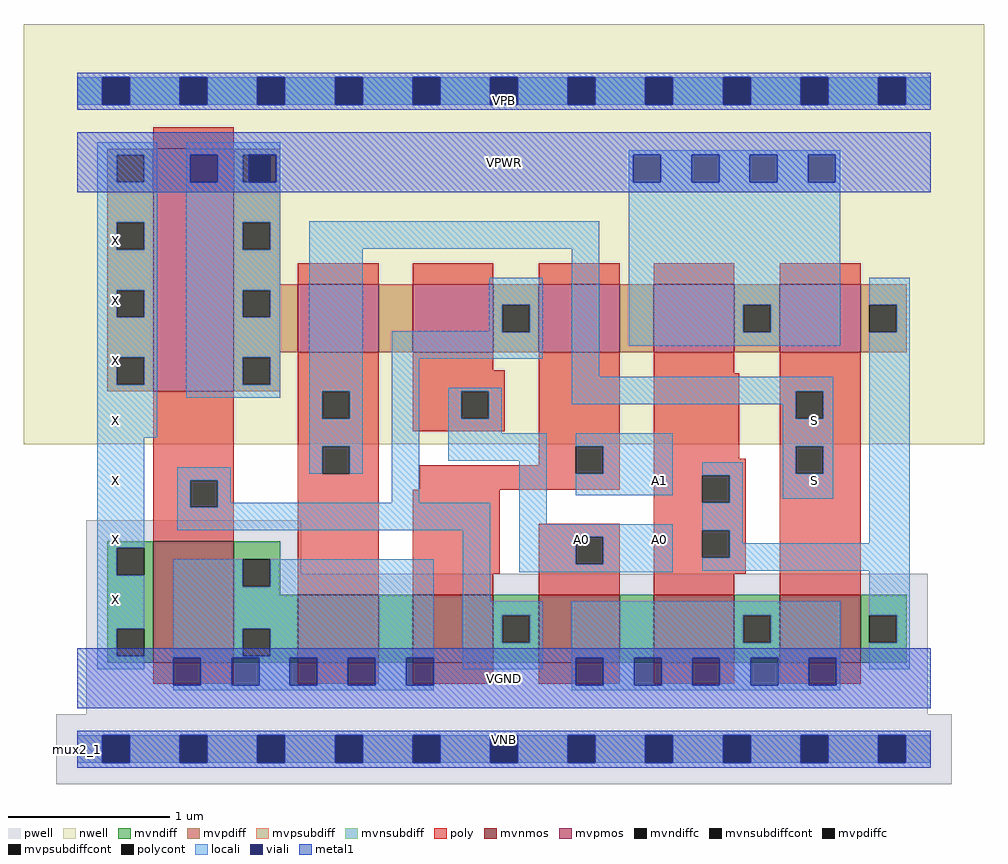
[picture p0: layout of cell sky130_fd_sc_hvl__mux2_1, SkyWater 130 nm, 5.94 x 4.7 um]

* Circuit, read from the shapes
.subckt sky130_fd_sc_hvl__mux2_1 A0 A1 S VGND VNB VPB VPWR X
XM1 VGND n1 X VNB sky130_fd_pr__nfet_g5v0d10v5 w=0.75 l=0.5
XM2 n2 S VGND VNB sky130_fd_pr__nfet_g5v0d10v5 w=0.42 l=0.5
XM3 n1 A1 n2 VNB sky130_fd_pr__nfet_g5v0d10v5 w=0.42 l=0.5
XM4 n3 A0 n1 VNB sky130_fd_pr__nfet_g5v0d10v5 w=0.42 l=0.5
XM5 VGND n4 n3 VNB sky130_fd_pr__nfet_g5v0d10v5 w=0.42 l=0.5
XM6 n4 S VGND VNB sky130_fd_pr__nfet_g5v0d10v5 w=0.42 l=0.5
XM7 VPWR n1 X VPB sky130_fd_pr__pfet_g5v0d10v5 w=1.5 l=0.5
XM8 n5 S VPWR VPB sky130_fd_pr__pfet_g5v0d10v5 w=0.42 l=0.5
XM9 n1 A0 n5 VPB sky130_fd_pr__pfet_g5v0d10v5 w=0.42 l=0.5
XM10 n6 A1 n1 VPB sky130_fd_pr__pfet_g5v0d10v5 w=0.42 l=0.5
XM11 VPWR n4 n6 VPB sky130_fd_pr__pfet_g5v0d10v5 w=0.42 l=0.5
XM12 n4 S VPWR VPB sky130_fd_pr__pfet_g5v0d10v5 w=0.42 l=0.5
.ends

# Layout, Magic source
magic
tech sky130B
magscale 1 2
<< nwell >>
rect -66 377 1122 897
<< pwell >>
rect 11 217 277 283
rect 11 43 1052 217
rect -26 -43 1082 43
<< mvnmos >>
rect 94 107 194 257
rect 273 107 373 191
rect 415 107 515 191
rect 571 107 671 191
rect 713 107 813 191
rect 869 107 969 191
<< mvpmos >>
rect 94 443 194 743
rect 273 491 373 575
rect 415 491 515 575
rect 571 491 671 575
rect 713 491 813 575
rect 869 491 969 575
<< mvndiff >>
rect 37 249 94 257
rect 37 215 49 249
rect 83 215 94 249
rect 37 149 94 215
rect 37 115 49 149
rect 83 115 94 149
rect 37 107 94 115
rect 194 235 251 257
rect 194 201 205 235
rect 239 201 251 235
rect 194 191 251 201
rect 194 149 273 191
rect 194 115 205 149
rect 239 115 273 149
rect 194 107 273 115
rect 373 107 415 191
rect 515 166 571 191
rect 515 132 526 166
rect 560 132 571 166
rect 515 107 571 132
rect 671 107 713 191
rect 813 166 869 191
rect 813 132 824 166
rect 858 132 869 166
rect 813 107 869 132
rect 969 166 1026 191
rect 969 132 980 166
rect 1014 132 1026 166
rect 969 107 1026 132
<< mvpdiff >>
rect 37 735 94 743
rect 37 701 49 735
rect 83 701 94 735
rect 37 652 94 701
rect 37 618 49 652
rect 83 618 94 652
rect 37 568 94 618
rect 37 534 49 568
rect 83 534 94 568
rect 37 485 94 534
rect 37 451 49 485
rect 83 451 94 485
rect 37 443 94 451
rect 194 735 251 743
rect 194 701 205 735
rect 239 701 251 735
rect 194 652 251 701
rect 194 618 205 652
rect 239 618 251 652
rect 194 575 251 618
rect 194 568 273 575
rect 194 534 205 568
rect 239 534 273 568
rect 194 491 273 534
rect 373 491 415 575
rect 515 550 571 575
rect 515 516 526 550
rect 560 516 571 550
rect 515 491 571 516
rect 671 491 713 575
rect 813 550 869 575
rect 813 516 824 550
rect 858 516 869 550
rect 813 491 869 516
rect 969 550 1026 575
rect 969 516 980 550
rect 1014 516 1026 550
rect 969 491 1026 516
rect 194 485 251 491
rect 194 451 205 485
rect 239 451 251 485
rect 194 443 251 451
<< mvndiffc >>
rect 49 215 83 249
rect 49 115 83 149
rect 205 201 239 235
rect 205 115 239 149
rect 526 132 560 166
rect 824 132 858 166
rect 980 132 1014 166
<< mvpdiffc >>
rect 49 701 83 735
rect 49 618 83 652
rect 49 534 83 568
rect 49 451 83 485
rect 205 701 239 735
rect 205 618 239 652
rect 205 534 239 568
rect 526 516 560 550
rect 824 516 858 550
rect 980 516 1014 550
rect 205 451 239 485
<< mvpsubdiff >>
rect 0 -17 31 17
rect 65 -17 127 17
rect 161 -17 223 17
rect 257 -17 319 17
rect 353 -17 415 17
rect 449 -17 511 17
rect 545 -17 607 17
rect 641 -17 703 17
rect 737 -17 799 17
rect 833 -17 895 17
rect 929 -17 991 17
rect 1025 -17 1056 17
<< mvnsubdiff >>
rect 0 797 31 831
rect 65 797 127 831
rect 161 797 223 831
rect 257 797 319 831
rect 353 797 415 831
rect 449 797 511 831
rect 545 797 607 831
rect 641 797 703 831
rect 737 797 799 831
rect 833 797 895 831
rect 929 797 991 831
rect 1025 797 1056 831
<< mvpsubdiffcont >>
rect 31 -17 65 17
rect 127 -17 161 17
rect 223 -17 257 17
rect 319 -17 353 17
rect 415 -17 449 17
rect 511 -17 545 17
rect 607 -17 641 17
rect 703 -17 737 17
rect 799 -17 833 17
rect 895 -17 929 17
rect 991 -17 1025 17
<< mvnsubdiffcont >>
rect 31 797 65 831
rect 127 797 161 831
rect 223 797 257 831
rect 319 797 353 831
rect 415 797 449 831
rect 511 797 545 831
rect 607 797 641 831
rect 703 797 737 831
rect 799 797 833 831
rect 895 797 929 831
rect 991 797 1025 831
<< poly >>
rect 94 743 194 769
rect 273 575 373 601
rect 415 575 515 601
rect 571 575 671 601
rect 713 575 813 601
rect 869 575 969 601
rect 273 443 373 491
rect 94 333 194 443
rect 94 299 140 333
rect 174 299 194 333
rect 94 257 194 299
rect 273 409 303 443
rect 337 409 373 443
rect 273 375 373 409
rect 415 469 515 491
rect 415 443 529 469
rect 415 409 475 443
rect 509 409 529 443
rect 415 393 529 409
rect 273 341 303 375
rect 337 341 373 375
rect 571 375 671 491
rect 571 351 617 375
rect 273 191 373 341
rect 423 341 617 351
rect 651 341 671 375
rect 423 321 671 341
rect 713 465 813 491
rect 713 359 819 465
rect 869 443 969 491
rect 869 409 889 443
rect 923 409 969 443
rect 869 375 969 409
rect 713 339 827 359
rect 415 217 523 321
rect 713 305 773 339
rect 807 305 827 339
rect 571 263 671 279
rect 571 229 617 263
rect 651 229 671 263
rect 415 191 515 217
rect 571 191 671 229
rect 713 271 827 305
rect 713 237 773 271
rect 807 237 827 271
rect 713 217 827 237
rect 869 341 889 375
rect 923 341 969 375
rect 713 191 813 217
rect 869 191 969 341
rect 94 81 194 107
rect 273 81 373 107
rect 415 81 515 107
rect 571 81 671 107
rect 713 81 813 107
rect 869 81 969 107
<< polycont >>
rect 140 299 174 333
rect 303 409 337 443
rect 475 409 509 443
rect 303 341 337 375
rect 617 341 651 375
rect 889 409 923 443
rect 773 305 807 339
rect 617 229 651 263
rect 773 237 807 271
rect 889 341 923 375
<< locali >>
rect 0 797 31 831
rect 65 797 127 831
rect 161 797 223 831
rect 257 797 319 831
rect 353 797 415 831
rect 449 797 511 831
rect 545 797 607 831
rect 641 797 703 831
rect 737 797 799 831
rect 833 797 895 831
rect 929 797 991 831
rect 1025 797 1056 831
rect 25 735 99 751
rect 25 701 49 735
rect 83 701 99 735
rect 25 652 99 701
rect 25 618 49 652
rect 83 618 99 652
rect 25 568 99 618
rect 25 534 49 568
rect 83 534 99 568
rect 25 485 99 534
rect 25 451 49 485
rect 83 451 99 485
rect 25 385 99 451
rect 135 735 251 751
rect 135 701 140 735
rect 174 701 205 735
rect 246 701 251 735
rect 135 652 251 701
rect 682 735 944 741
rect 682 701 688 735
rect 722 701 760 735
rect 794 701 832 735
rect 866 701 904 735
rect 938 701 944 735
rect 135 618 205 652
rect 239 618 251 652
rect 135 568 251 618
rect 135 534 205 568
rect 239 534 251 568
rect 135 485 251 534
rect 135 451 205 485
rect 239 451 251 485
rect 135 435 251 451
rect 287 619 646 653
rect 287 443 353 619
rect 510 550 576 583
rect 510 517 526 550
rect 287 409 303 443
rect 337 409 353 443
rect 25 249 83 385
rect 287 375 353 409
rect 124 333 190 349
rect 287 341 303 375
rect 337 341 353 375
rect 389 516 526 517
rect 560 516 576 550
rect 389 483 576 516
rect 124 299 140 333
rect 174 305 190 333
rect 389 305 423 483
rect 612 461 646 619
rect 682 550 944 701
rect 682 516 824 550
rect 858 516 944 550
rect 682 499 944 516
rect 980 550 1030 583
rect 1014 516 1030 550
rect 459 443 525 447
rect 459 409 475 443
rect 509 409 525 443
rect 612 443 935 461
rect 612 427 889 443
rect 459 391 525 409
rect 873 409 889 427
rect 923 409 935 443
rect 459 357 581 391
rect 174 299 511 305
rect 124 271 511 299
rect 25 215 49 249
rect 25 149 83 215
rect 25 115 49 149
rect 25 99 83 115
rect 119 201 205 235
rect 239 201 441 235
rect 119 149 441 201
rect 119 115 205 149
rect 239 115 441 149
rect 119 113 441 115
rect 153 79 191 113
rect 225 79 263 113
rect 297 79 335 113
rect 369 79 407 113
rect 477 183 511 271
rect 547 278 581 357
rect 617 375 737 391
rect 651 341 737 375
rect 873 375 935 409
rect 617 314 737 341
rect 773 339 823 355
rect 807 305 823 339
rect 873 341 889 375
rect 923 341 935 375
rect 873 310 935 341
rect 547 263 737 278
rect 547 229 617 263
rect 651 229 737 263
rect 547 219 737 229
rect 773 271 823 305
rect 807 255 823 271
rect 980 255 1030 516
rect 807 237 1030 255
rect 773 221 1030 237
rect 477 166 576 183
rect 477 132 526 166
rect 560 132 576 166
rect 477 99 576 132
rect 612 166 944 183
rect 612 132 824 166
rect 858 132 944 166
rect 612 113 944 132
rect 119 73 441 79
rect 612 79 617 113
rect 651 79 689 113
rect 723 79 761 113
rect 795 79 833 113
rect 867 79 905 113
rect 939 79 944 113
rect 980 166 1030 221
rect 1014 132 1030 166
rect 980 99 1030 132
rect 612 73 944 79
rect 0 -17 31 17
rect 65 -17 127 17
rect 161 -17 223 17
rect 257 -17 319 17
rect 353 -17 415 17
rect 449 -17 511 17
rect 545 -17 607 17
rect 641 -17 703 17
rect 737 -17 799 17
rect 833 -17 895 17
rect 929 -17 991 17
rect 1025 -17 1056 17
<< viali >>
rect 31 797 65 831
rect 127 797 161 831
rect 223 797 257 831
rect 319 797 353 831
rect 415 797 449 831
rect 511 797 545 831
rect 607 797 641 831
rect 703 797 737 831
rect 799 797 833 831
rect 895 797 929 831
rect 991 797 1025 831
rect 140 701 174 735
rect 212 701 239 735
rect 239 701 246 735
rect 688 701 722 735
rect 760 701 794 735
rect 832 701 866 735
rect 904 701 938 735
rect 119 79 153 113
rect 191 79 225 113
rect 263 79 297 113
rect 335 79 369 113
rect 407 79 441 113
rect 617 79 651 113
rect 689 79 723 113
rect 761 79 795 113
rect 833 79 867 113
rect 905 79 939 113
rect 31 -17 65 17
rect 127 -17 161 17
rect 223 -17 257 17
rect 319 -17 353 17
rect 415 -17 449 17
rect 511 -17 545 17
rect 607 -17 641 17
rect 703 -17 737 17
rect 799 -17 833 17
rect 895 -17 929 17
rect 991 -17 1025 17
<< metal1 >>
rect 0 831 1056 837
rect 0 797 31 831
rect 65 797 127 831
rect 161 797 223 831
rect 257 797 319 831
rect 353 797 415 831
rect 449 797 511 831
rect 545 797 607 831
rect 641 797 703 831
rect 737 797 799 831
rect 833 797 895 831
rect 929 797 991 831
rect 1025 797 1056 831
rect 0 791 1056 797
rect 0 735 1056 763
rect 0 701 140 735
rect 174 701 212 735
rect 246 701 688 735
rect 722 701 760 735
rect 794 701 832 735
rect 866 701 904 735
rect 938 701 1056 735
rect 0 689 1056 701
rect 0 113 1056 125
rect 0 79 119 113
rect 153 79 191 113
rect 225 79 263 113
rect 297 79 335 113
rect 369 79 407 113
rect 441 79 617 113
rect 651 79 689 113
rect 723 79 761 113
rect 795 79 833 113
rect 867 79 905 113
rect 939 79 1056 113
rect 0 51 1056 79
rect 0 17 1056 23
rect 0 -17 31 17
rect 65 -17 127 17
rect 161 -17 223 17
rect 257 -17 319 17
rect 353 -17 415 17
rect 449 -17 511 17
rect 545 -17 607 17
rect 641 -17 703 17
rect 737 -17 799 17
rect 833 -17 895 17
rect 929 -17 991 17
rect 1025 -17 1056 17
rect 0 -23 1056 -17
<< labels >>
rlabel comment s 0 0 0 0 4 mux2_1
flabel metal1 s 0 51 1056 125 0 FreeSans 340 0 0 0 VGND
port 4 nsew ground bidirectional
flabel metal1 s 0 0 1056 23 0 FreeSans 340 0 0 0 VNB
port 5 nsew ground bidirectional
flabel metal1 s 0 689 1056 763 0 FreeSans 340 0 0 0 VPWR
port 7 nsew power bidirectional
flabel metal1 s 0 791 1056 814 0 FreeSans 340 0 0 0 VPB
port 6 nsew power bidirectional
flabel locali s 895 316 929 350 0 FreeSans 340 0 0 0 S
port 3 nsew signal input
flabel locali s 895 390 929 424 0 FreeSans 340 0 0 0 S
port 3 nsew signal input
flabel locali s 607 242 641 276 0 FreeSans 340 0 0 0 A0
port 1 nsew signal input
flabel locali s 703 242 737 276 0 FreeSans 340 0 0 0 A0
port 1 nsew signal input
flabel locali s 703 316 737 350 0 FreeSans 340 0 0 0 A1
port 2 nsew signal input
flabel locali s 31 168 65 202 0 FreeSans 340 0 0 0 X
port 8 nsew signal output
flabel locali s 31 242 65 276 0 FreeSans 340 0 0 0 X
port 8 nsew signal output
flabel locali s 31 316 65 350 0 FreeSans 340 0 0 0 X
port 8 nsew signal output
flabel locali s 31 390 65 424 0 FreeSans 340 0 0 0 X
port 8 nsew signal output
flabel locali s 31 464 65 498 0 FreeSans 340 0 0 0 X
port 8 nsew signal output
flabel locali s 31 538 65 572 0 FreeSans 340 0 0 0 X
port 8 nsew signal output
flabel locali s 31 612 65 646 0 FreeSans 340 0 0 0 X
port 8 nsew signal output
<< properties >>
string FIXED_BBOX 0 0 1056 814
string GDS_END 249092
string GDS_FILE $PDKPATH/libs.ref/sky130_fd_sc_hvl/gds/sky130_fd_sc_hvl.gds
string GDS_START 236720
string LEFclass CORE
string LEFsite unithv
string LEFsymmetry X Y
<< end >>
